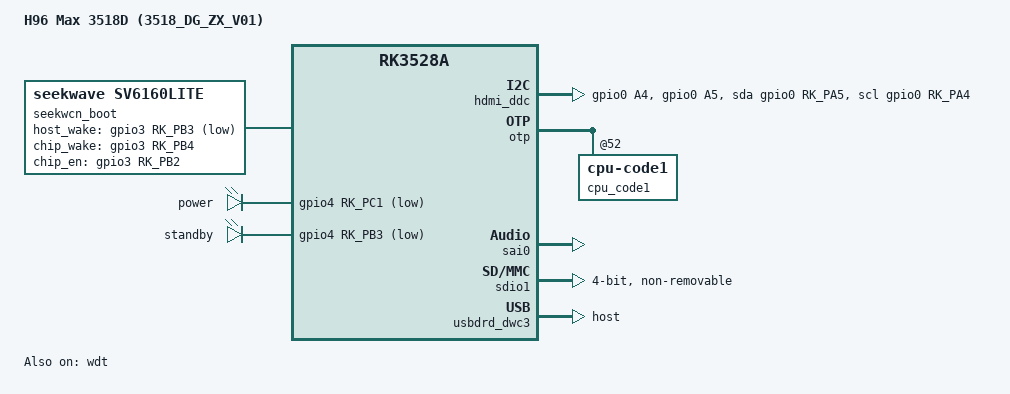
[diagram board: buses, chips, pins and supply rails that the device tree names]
/dts-v1/;

/*
 * Written by tools/dtcx/upstream.py from board.dts: a view, not edited.
 * Over rockchip-linux/kernel at 77168c8d5ab8.
 */

#include "rk3528-evb1-ddr4-v10.dts"
#include <dt-bindings/clock/rk3528-cru.h>
#include <dt-bindings/gpio/gpio.h>
#include <dt-bindings/pinctrl/rockchip.h>
#include <dt-bindings/input/linux-event-codes.h>
#include <dt-bindings/suspend/rockchip-rk3528.h>

/ {
	/* board name first: the Seekwave driver builds its firmware filenames from it.
	 * rk3528a last, because rkmpp has no rk3518 entry and cannot otherwise find the VPU */
	compatible = "h96max-3518d,rk3518-tvbox", "rockchip,rk3518-evb1-ddr4-v10", "rockchip,rk3518", "rockchip,rk3528a";
	model = "H96 Max 3518D (3518_DG_ZX_V01)";
	/delete-node/ vdd-logic;
	/delete-node/ vdd-gpu;
	/delete-node/ chosen;

	aliases {
		/delete-property/ ethernet1;
	};

	cpuinfo {
		nvmem-cells = <&otp_id>, <&otp_cpu_version>, <&cpu_code>, <&cpu_code1>;
		nvmem-cell-names = "id", "cpu-version", "cpu-code", "cpu-code1";
	};

	spdif-sound {
		/* NOT FITTED - sound card for the absent SPDIF */
		status = "disabled";
	};

	/* the HDMI DDC lines as a full I2C bus: dw-hdmi's own master reads the EDID but refuses DDC/CI */
	hdmi_ddc: i2c-hdmi-ddc {
		compatible = "i2c-gpio";
		sda-gpios = <&gpio0 RK_PA5 GPIO_OPEN_DRAIN>;
		scl-gpios = <&gpio0 RK_PA4 GPIO_OPEN_DRAIN>;
		i2c-gpio,delay-us = <5>;
		pinctrl-names = "default";
		pinctrl-0 = <&hdmi_ddc_gpio>;
		#address-cells = <1>;
		#size-cells = <0>;
	};

	seekwcn_boot: seekwcn_boot {
		compatible = "seekwave,sv6160lite";
		dma_type = <0x01>;
		seekwave_nv_name = "SEEKWAVE_NV_SWT6652.bin";
		gpio_host_wake = <&gpio3 RK_PB3 GPIO_ACTIVE_LOW>;
		gpio_chip_wake = <&gpio3 RK_PB4 GPIO_ACTIVE_HIGH>;
		gpio_chip_en = <&gpio3 RK_PB2 GPIO_ACTIVE_HIGH>;
		status = "okay";
	};

	leds: gpio-leds {
		compatible = "gpio-leds";

		/* power/standby are the names the shared LED hooks drive; the factory called
		 * them work-green and work-red */
		power {
			gpios = <&gpio4 RK_PC1 GPIO_ACTIVE_LOW>;
			linux,default-trigger = "none";
			default-state = "on";
			retain-state-suspended;
			retain-state-shutdown;
		};

		/* the standby half of the same rename; the factory called it work-red */
		standby {
			gpios = <&gpio4 RK_PB3 GPIO_ACTIVE_LOW>;
			linux,default-trigger = "none";
			default-state = "off";
			retain-state-suspended;
			retain-state-shutdown;
		};
	};
};

&acodec {
	/* NOT FITTED - no analog audio output on this board */
	status = "disabled";
};

&acodec_sound {
	/* NOT FITTED - sound card for the absent analog codec */
	status = "disabled";
};

&adc_keys {
	vol-up-key {
		linux,code = <KEY_F11>;
	};
};

&cpu0_opp_table {
	mbist-vmin = <825000 925000 925000>;
	rockchip,pvtm-voltage-sel = <0 1420 0>, <1410 1444 1>, <1445 1474 2>, <1475 1509 3>,
	                            <1510 1544 4>, <1545 1579 5>, <1580 1619 6>,
	                            <1620 1689 7>, <1690 1744 8>, <1745 1799 9>,
	                            <1800 9999 10>;
	rockchip,pvtm-freq = <1416000>;
	rockchip,pvtm-volt = <950000>;
	rockchip,video-1080p-freq = <1200000>;
	/delete-node/ opp-408000000;
	/delete-node/ opp-600000000;
	/delete-node/ opp-816000000;
	/delete-node/ opp-1008000000;
	/delete-node/ opp-1608000000;
	/delete-node/ opp-1800000000;
	/delete-node/ opp-2016000000;

	opp-1200000000 {
		/delete-property/ opp-microvolt-L0;
		/delete-property/ opp-microvolt-L1;
		/delete-property/ opp-microvolt-L2;
		/delete-property/ opp-microvolt-L3;
		/delete-property/ opp-microvolt-L4;
		/delete-property/ opp-microvolt-L5;
		/delete-property/ opp-microvolt-L6;
		opp-microvolt = <900000 900000 1000000>;
	};

	opp-1416000000 {
		/delete-property/ opp-microvolt-L5;
		/delete-property/ opp-microvolt-L6;
		/delete-property/ opp-microvolt-L7;
		/delete-property/ opp-microvolt-L8;
		/delete-property/ opp-microvolt-L9;
		/delete-property/ opp-microvolt-L10;
		/delete-property/ opp-microvolt-L11;
		opp-microvolt = <900000 900000 1000000>;
		opp-microvolt-L1 = <950000 950000 1000000>;
		opp-microvolt-L2 = <937500 937500 1000000>;
		opp-microvolt-L3 = <925000 925000 1000000>;
		opp-microvolt-L4 = <912500 912500 1000000>;
		opp-microvolt-L0 = <962500 962500 1000000>;
	};
};

&dmc {
	system-status-level = <1 8>;
	center-supply = <&vdd_cpu>;
};

&dmc_opp_table {
	rockchip,leakage-voltage-sel = <1 10 0>, <11 14 1>, <15 22 2>, <23 28 3>,
	                               <29 254 4>;
	/delete-node/ opp-920000000;

	opp-324000000 {
		opp-microvolt = <900000 900000 1000000>;
	};

	opp-666000000 {
		opp-microvolt = <900000 900000 1000000>;
	};

	opp-1056000000 {
		/delete-property/ opp-microvolt-L0;
		/delete-property/ opp-microvolt-L1;
		/delete-property/ opp-microvolt-L2;
		/delete-property/ opp-microvolt-L3;
		/delete-property/ opp-microvolt-L4;
		opp-microvolt = <900000 900000 1000000>;
	};

	opp-780000000 {
		opp-hz = /bits/ 64 <780000000>;
		opp-microvolt = <900000 900000 1000000>;
	};
};

&gmac0 {
	/* NOT FITTED - no ethernet PHY. Probing costs a boot delay and two errors for nothing
	 * (RK630 PHY stmmac-0:02: phy_poll_reset failed: -110) */
	status = "disabled";
};

&gmac1 {
	status = "disabled";
};

&gpu {
	/* names mainline lima expects; the vendor Mali blob used its own */
	interrupt-names = "gp", "gpmmu", "pp", "pp0", "ppmmu0", "pp1", "ppmmu1";
	clocks = <&cru ACLK_GPU_MALI>, <&cru ACLK_GPU_MALI>;
	clock-names = "bus", "core";
	mali-supply = <&vdd_cpu>;
};

&gpu_bus {
	status = "disabled";
};

&gpu_bus_opp_table {
	rockchip,leakage-voltage-sel = <1 22 0>, <23 254 1>;
};

&gpu_opp_table {
	rockchip,pvtm-voltage-sel = <0 809 0>, <810 830 1>, <831 850 2>, <851 880 3>,
	                            <881 890 4>, <891 910 5>, <911 930 6>, <931 950 7>,
	                            <951 970 8>, <971 995 9>, <1000 9999 10>;
	rockchip,pvtm-volt = <950000>;
	/delete-node/ opp-300000000;
	/delete-node/ opp-500000000;
	/delete-node/ opp-600000000;

	opp-700000000 {
		/delete-property/ opp-microvolt-L1;
		/delete-property/ opp-microvolt-L2;
		/delete-property/ opp-microvolt-L3;
		/delete-property/ opp-microvolt-L4;
		/delete-property/ opp-microvolt-L5;
		/delete-property/ opp-microvolt-L6;
		/delete-property/ opp-microvolt-L7;
		/delete-property/ opp-microvolt-L8;
		/delete-property/ clock-latency-ns;
	};

	opp-800000000 {
		/delete-property/ opp-microvolt-L6;
		/delete-property/ opp-microvolt-L7;
		/delete-property/ opp-microvolt-L8;
		/delete-property/ clock-latency-ns;
		opp-microvolt = <900000 900000 1000000>;
		opp-microvolt-L1 = <950000 950000 1000000>;
		opp-microvolt-L2 = <937500 937500 1000000>;
		opp-microvolt-L3 = <925000 925000 1000000>;
		opp-microvolt-L4 = <912500 912500 1000000>;
		opp-microvolt-L5 = <900000 900000 1000000>;
		opp-microvolt-L0 = <962500 962500 1000000>;
	};
};

&gpu_power_model {
	ls = <0xffffc2d6 0x1071a 0x00>;
	ts = <0x302a42 0x1d55a 0xfffff636 0x27>;
};

&hdmi {
	ddc-i2c-bus = <&hdmi_ddc>;
};

&hdmi_pins {
	rockchip,pins = <0 RK_PA3 1 &pcfg_pull_none>;
};

&i2c6 {
	status = "disabled";
};

&otp {
	cpu_code1: cpu-code1@52 {
		reg = <0x52 0x02>;
	};
};

&pinctrl {
	hdmi {
		hdmi_ddc_gpio: hdmi-ddc-gpio {
			rockchip,pins = <0 RK_PA4 RK_FUNC_GPIO &pcfg_pull_none>,
			                <0 RK_PA5 RK_FUNC_GPIO &pcfg_pull_none>;
		};
	};
};

&pwm3 {
	/* NOT FITTED - no IR receiver. The bundled remote drives the board over IR, but nothing
	 * here answers it. Left enabled the node only costs a shared group-IRQ storm. */
	status = "disabled";
};

&reboot_mode {
	mode-bootloader = <0x5242c301>;
	mode-charge = <0x5242c30b>;
	mode-fastboot = <0x5242c309>;
	mode-loader = <0x5242c301>;
	mode-normal = <0x5242c300>;
	mode-recovery = <0x5242c303>;
	mode-ums = <0x5242c30c>;
	mode-panic = <0x5242c307>;
	mode-watchdog = <0x5242c308>;
	/* `reboot maskrom` from the OS: the SPL reads this register on the way
	 * up and hands to the BootROM, so no button and no serial are needed */
	mode-maskrom = <0xef08a53c>;
};

&rockchip_suspend {
	rockchip,sleep-mode-config = <RKPM_SLP_ARMPD>;
	rockchip,wakeup-config = <(RKPM_CPU0_WKUP_EN | RKPM_GPIO_WKUP_EN)>;
	rockchip,pwm-regulator-config = <(RKPM_PWM0_M0_REGULATOR_EN | RKPM_PWM1_M0_REGULATOR_EN)>;
};

&route_hdmi {
	/delete-property/ logo,kernel;
	logo,mode = "fullscreen";
};

&route_tve {
	/delete-property/ logo,kernel;
	logo,mode = "fullscreen";
};

&sai0 {
	pinctrl-0 = <&i2s0m0_lrck>, <&i2s0m0_sclk>, <&i2s0m0_sdi>, <&i2s0m0_sdo>;
	status = "okay";
};

&sai1 {
	status = "disabled";
};

&sdhci {
	/delete-property/ mmc-hs400-1_8v;
	/delete-property/ mmc-hs400-enhanced-strobe;
	max-frequency = <50000000>;
};

&sdio0 {
	status = "disabled";
};

&sdio1 {
	max-frequency = <200000000>;
	no-sd;
	no-mmc;
	supports-sdio;
	bus-width = <4>;
	disable-wp;
	cap-sd-highspeed;
	cap-sdio-irq;
	keep-power-in-suspend;
	non-removable;
	mmc-pwrseq = <&sdio_pwrseq>;
	pinctrl-names = "default";
	pinctrl-0 = <&sdio1_bus4>, <&sdio1_cmd>, <&sdio1_clk>;
	sd-uhs-sdr104;
	status = "okay";
};

&sdio_pwrseq {
	reset-gpios = <&gpio3 RK_PB2 GPIO_ACTIVE_LOW>;
	/* Each failed init retries after a power-off; a reset this long restarts a chip left running by a warm reboot. */
	power-off-delay-us = <200000>;
};

&sdmmc {
	/* NOT FITTED - no SD slot; the controller binds and claims vcc-sd/vccio_sd regardless */
	status = "disabled";
};

&sfc {
	/* NOT FITTED - SFC with no flash: SPL reports "unrecognized JEDEC id bytes: 00, 00, 00" */
	status = "disabled";
};

&spdif_8ch {
	/* NOT FITTED - no SPDIF connector on this board */
	status = "disabled";
};

&tve {
	/* NOT FITTED - composite video encoder, and this board has no AV jack */
	status = "disabled";
};

&usbdrd_dwc3 {
	dr_mode = "host";
};

&vcc5v0_otg {
	gpio = <&gpio4 RK_PB4 GPIO_ACTIVE_HIGH>;
};

/* on this board vdd_cpu is also vdd_gpu and vdd_logic */
vdd_gpu: &vdd_cpu { };
vdd_logic: &vdd_cpu { };

&vop {
	/delete-property/ support-multi-area;
	/* factory 03 caps every Esmart window at 2K; 02 gives Esmart0 a 4K line buffer */
	esmart_lb_mode = [02];
};

&wdt {
	/* /dev/watchdog for systemd RuntimeWatchdogSec - also the only hang recorder */
	status = "okay";
};

&wifi_enable_h {
	rockchip,pins = <3 RK_PB2 RK_FUNC_GPIO &pcfg_pull_none>;
};

&wireless_bluetooth {
	status = "disabled";
};

&wireless_wlan {
	status = "disabled";
};
